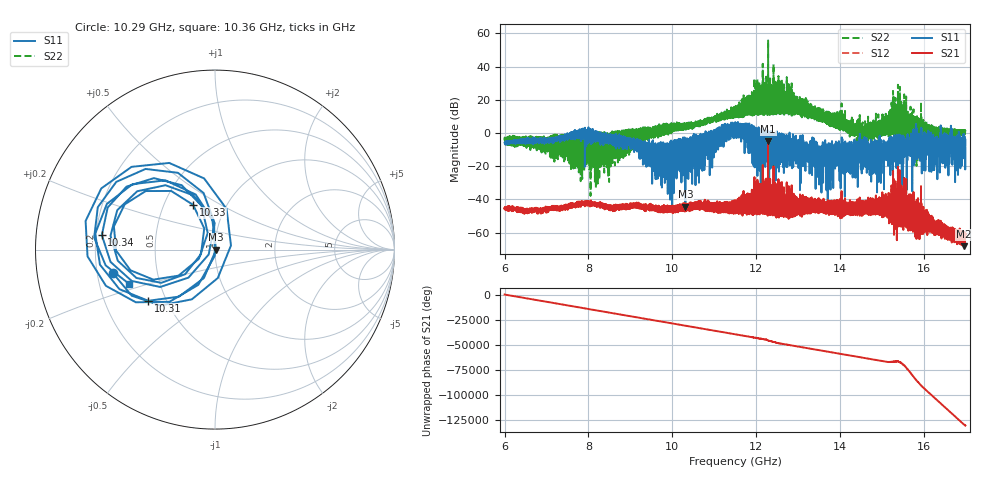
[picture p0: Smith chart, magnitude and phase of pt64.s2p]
#  HZ  S  RI  R  50.00
! Rohde & Schwarz Vector Network Analyzer
! Rohde-Schwarz,ZNA67-2Port,1332450062101215,3.01
! Created: UTC 10/16/2026, 1:24:33 PM
! freq[Hz]  re:S11  im:S11  re:S21  im:S21  re:S12  im:S12  re:S22  im:S22
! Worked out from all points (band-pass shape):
!   11001 points, 6 GHz to 17 GHz, reference 50 ohm
!   highest |S21| = -4.95 dB at 12.29 GHz (marker M1); lowest = -68.1 dB at 16.97 GHz (marker M2)
!   |S21| within 3 dB of the highest: 12.29092 GHz to 12.29108 GHz (156.1 kHz wide, 0.00127 % of centre)
!   lowest |S11| = -44.3 dB at 10.31 GHz (marker M3), VSWR 1.01, Z = 50.6 - j0.0469 ohm
!   |S11| at or under -10 dB: 13.52814 GHz to 13.56812 GHz (39.98 MHz wide, 0.295 % of centre); 13.61252 GHz to 13.64721 GHz (34.68 MHz wide, 0.254 % of centre); 13.93513 GHz to 13.9626 GHz (27.47 MHz wide, 0.197 % of centre) (the widest 3 of 484)
!   |S22| runs from -37.8 to 55.7 dB; largest |S21 - S12| = 0.018
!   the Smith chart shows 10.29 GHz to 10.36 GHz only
!   S11 on the Smith chart (normalised r, x): 10.29 GHz: 0.27, -0.11; 10.31 GHz: 0.40, -0.29; 10.33 GHz: 0.70, +0.38; 10.34 GHz: 0.22, +0.06; 10.36 GHz: 0.33, -0.17
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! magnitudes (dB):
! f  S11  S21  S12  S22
! 6 GHz  -6.0  -45.5  -45.4  -4.3
! 7.834 GHz  -0.9  -41.9  -41.7  -1.1
! 8.488 GHz  -3.4  -43.6  -43.5  -1.1
! 9.667 GHz  -6.6  -45.2  -45.4  4.4
! 10.29 GHz  -4.7  -45.9  -46.0  5.1
! 10.31 GHz  -6.6  -43.7  -43.7  6.3
! 10.31 GHz  -44.3  -44.1  -44.1  4.2
! 10.33 GHz  -11.1  -44.6  -44.6  2.0
! 10.34 GHz  -3.9  -46.3  -46.4  5.4
! 10.36 GHz  -5.8  -44.9  -44.9  5.8
! 11.5 GHz  6.4  -45.1  -45.2  11.5
! 12.29 GHz  -7.9  -5.0  -5.0  55.7
! 13.33 GHz  -8.3  -45.1  -45.1  11.1
! 13.54 GHz  -12.7  -44.7  -44.7  10.0
! 14.62 GHz  -9.8  -45.6  -45.5  -0.4
! 14.84 GHz  -4.2  -43.7  -43.6  0.0
! 15.17 GHz  -11.9  -42.9  -43.0  4.7
! 15.68 GHz  -8.4  -44.4  -44.3  5.2
! 15.8 GHz  -2.4  -51.8  -52.0  1.5
! 16.19 GHz  -9.0  -55.2  -55.2  -0.4
! 16.97 GHz  -3.4  -68.1  -68.1  -0.9
! 17 GHz  -4.1  -61.7  -62.0  1.0
